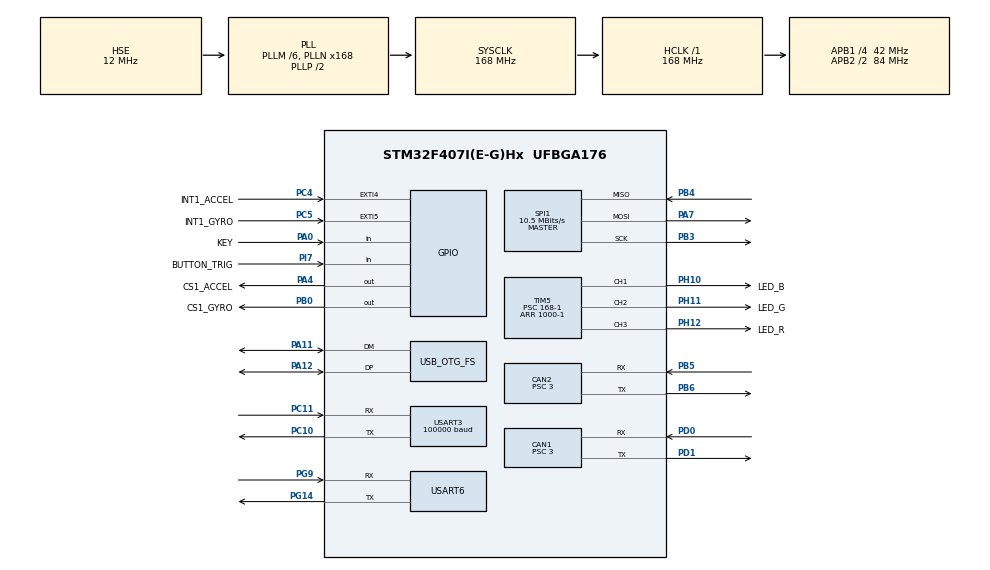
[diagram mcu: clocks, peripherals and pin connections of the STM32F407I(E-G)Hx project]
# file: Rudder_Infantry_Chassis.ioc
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CAN1.BS1=CAN_BS1_10TQ
CAN1.BS2=CAN_BS2_3TQ
CAN1.CalculateBaudRate=1000000
CAN1.CalculateTimeQuantum=71.42857142857143
CAN1.Prescaler=3
CAN2.BS1=CAN_BS1_10TQ
CAN2.BS2=CAN_BS2_3TQ
CAN2.CalculateBaudRate=1000000
CAN2.CalculateTimeQuantum=71.42857142857143
CAN2.Prescaler=3
Dma.Request0=USART3_RX
Dma.Request1=USART6_RX
Dma.Request2=USART6_TX
Dma.USART3_RX.0.Direction=DMA_PERIPH_TO_MEMORY
Dma.USART3_RX.0.FIFOMode=DMA_FIFOMODE_DISABLE
Dma.USART3_RX.0.Instance=DMA1_Stream1
Dma.USART3_RX.0.MemDataAlignment=DMA_MDATAALIGN_BYTE
Dma.USART3_RX.0.MemInc=DMA_MINC_ENABLE
Dma.USART3_RX.0.Mode=DMA_NORMAL
Dma.USART3_RX.0.PeriphDataAlignment=DMA_PDATAALIGN_BYTE
Dma.USART3_RX.0.PeriphInc=DMA_PINC_DISABLE
Dma.USART3_RX.0.Priority=DMA_PRIORITY_HIGH
Dma.USART6_RX.1.Direction=DMA_PERIPH_TO_MEMORY
Dma.USART6_RX.1.FIFOMode=DMA_FIFOMODE_DISABLE
Dma.USART6_RX.1.Instance=DMA2_Stream1
Dma.USART6_RX.1.MemDataAlignment=DMA_MDATAALIGN_BYTE
Dma.USART6_RX.1.MemInc=DMA_MINC_ENABLE
Dma.USART6_RX.1.Mode=DMA_NORMAL
Dma.USART6_RX.1.PeriphDataAlignment=DMA_PDATAALIGN_BYTE
Dma.USART6_RX.1.PeriphInc=DMA_PINC_DISABLE
Dma.USART6_RX.1.Priority=DMA_PRIORITY_HIGH
Dma.USART6_TX.2.Direction=DMA_MEMORY_TO_PERIPH
Dma.USART6_TX.2.FIFOMode=DMA_FIFOMODE_DISABLE
Dma.USART6_TX.2.Instance=DMA2_Stream6
Dma.USART6_TX.2.MemDataAlignment=DMA_MDATAALIGN_BYTE
Dma.USART6_TX.2.MemInc=DMA_MINC_ENABLE
Dma.USART6_TX.2.Mode=DMA_NORMAL
Dma.USART6_TX.2.PeriphDataAlignment=DMA_PDATAALIGN_BYTE
Dma.USART6_TX.2.PeriphInc=DMA_PINC_DISABLE
Dma.USART6_TX.2.Priority=DMA_PRIORITY_HIGH
FREERTOS.INCLUDE_eTaskGetState=1
FREERTOS.INCLUDE_pcTaskGetTaskName=1
FREERTOS.INCLUDE_uxTaskGetStackHighWaterMark=1
FREERTOS.INCLUDE_vTaskCleanUpResources=1
FREERTOS.INCLUDE_vTaskDelayUntil=1
FREERTOS.INCLUDE_xEventGroupSetBitFromISR=1
FREERTOS.INCLUDE_xQueueGetMutexHolder=1
FREERTOS.INCLUDE_xSemaphoreGetMutexHolder=1
FREERTOS.INCLUDE_xTaskAbortDelay=1
FREERTOS.INCLUDE_xTaskGetCurrentTaskHandle=1
FREERTOS.INCLUDE_xTaskGetHandle=1
FREERTOS.INCLUDE_xTimerPendFunctionCall=1
FREERTOS.Tasks01=DefaultTask,-2,128,StartDefaultTask,Default,NULL,Dynamic,NULL,NULL;ChassisTask,1,512,StartChassisTask,Default,NULL,Dynamic,NULL,NULL;INS_Task,2,128,StartINSTask,Default,NULL,Dynamic,NULL,NULL;DetectTask,-2,128,StartDeteactTask,Default,NULL,Dynamic,NULL,NULL;UI_Task,1,256,StartUITask,Default,NULL,Dynamic,NULL,NULL
FREERTOS.configENABLE_FPU=1
FREERTOS.configTOTAL_HEAP_SIZE=24576
FREERTOS.configUSE_NEWLIB_REENTRANT=1
Mcu.Family=STM32F4
Mcu.Name=STM32F407I(E-G)Hx
Mcu.Package=UFBGA176
NVIC.CAN1_RX0_IRQn=true\:6\:0\:true\:false\:true\:true\:true\:true\:true
NVIC.CAN2_RX0_IRQn=true\:6\:0\:true\:false\:true\:true\:true\:true\:true
NVIC.DMA1_Stream1_IRQn=true\:5\:0\:true\:false\:false\:true\:false\:false\:true
NVIC.DMA2_Stream1_IRQn=true\:5\:0\:true\:false\:true\:true\:false\:true\:true
NVIC.DMA2_Stream6_IRQn=true\:5\:0\:true\:false\:true\:true\:false\:true\:true
NVIC.EXTI4_IRQn=true\:5\:0\:true\:false\:true\:true\:true\:true\:true
NVIC.EXTI9_5_IRQn=true\:5\:0\:true\:false\:true\:true\:true\:true\:true
NVIC.OTG_FS_IRQn=true\:5\:0\:false\:false\:true\:true\:false\:true\:true
NVIC.PriorityGroup=NVIC_PRIORITYGROUP_4
NVIC.TIM8_TRG_COM_TIM14_IRQn=true\:15\:0\:false\:false\:true\:false\:false\:true\:true
NVIC.TimeBase=TIM8_TRG_COM_TIM14_IRQn
NVIC.TimeBaseIP=TIM14
NVIC.USART3_IRQn=true\:4\:0\:true\:false\:false\:false\:true\:true\:true
NVIC.USART6_IRQn=true\:5\:0\:true\:false\:true\:true\:true\:true\:true
PA0-WKUP.GPIO_Label=KEY
PA0-WKUP.GPIO_PuPd=GPIO_PULLUP
PA0-WKUP.Signal=GPIO_Input
PA11.Mode=Device_Only
PA11.Signal=USB_OTG_FS_DM
PA12.Mode=Device_Only
PA12.Signal=USB_OTG_FS_DP
PA13.Mode=Serial_Wire
PA13.Signal=SYS_JTMS-SWDIO
PA14.Mode=Serial_Wire
PA14.Signal=SYS_JTCK-SWCLK
PA4.GPIO_Label=CS1_ACCEL
PA4.GPIO_PuPd=GPIO_PULLUP
PA4.GPIO_Speed=GPIO_SPEED_FREQ_HIGH
PA4.PinState=GPIO_PIN_SET
PA4.Signal=GPIO_Output
PA7.GPIO_PuPd=GPIO_PULLUP
PA7.Mode=Full_Duplex_Master
PA7.Signal=SPI1_MOSI
PB0.GPIO_Label=CS1_GYRO
PB0.GPIO_PuPd=GPIO_PULLUP
PB0.GPIO_Speed=GPIO_SPEED_FREQ_HIGH
PB0.PinState=GPIO_PIN_SET
PB0.Signal=GPIO_Output
PB3.GPIO_PuPd=GPIO_PULLUP
PB3.Mode=Full_Duplex_Master
PB3.Signal=SPI1_SCK
PB4.GPIO_PuPd=GPIO_PULLUP
PB4.Mode=Full_Duplex_Master
PB4.Signal=SPI1_MISO
PB5.Mode=CAN_Activate
PB5.Signal=CAN2_RX
PB6.Mode=CAN_Activate
PB6.Signal=CAN2_TX
PB7.Signal=USART1_RX
PC10.Mode=Asynchronous
PC10.Signal=USART3_TX
PC11.Mode=Asynchronous
PC11.Signal=USART3_RX
PC4.GPIO_Label=INT1_ACCEL
PC4.GPIO_ModeDefaultEXTI=GPIO_MODE_IT_FALLING
PC4.GPIO_PuPd=GPIO_PULLUP
PC4.Signal=GPXTI4
PC5.GPIO_Label=INT1_GYRO
PC5.GPIO_ModeDefaultEXTI=GPIO_MODE_IT_FALLING
PC5.GPIO_PuPd=GPIO_PULLUP
PC5.Signal=GPXTI5
PD0.Mode=CAN_Activate
PD0.Signal=CAN1_RX
PD1.Mode=CAN_Activate
PD1.Signal=CAN1_TX
PG14.Mode=Asynchronous
PG14.Signal=USART6_TX
PG9.Mode=Asynchronous
PG9.Signal=USART6_RX
PH0-OSC_IN.Mode=HSE-External-Oscillator
PH0-OSC_IN.Signal=RCC_OSC_IN
PH1-OSC_OUT.Mode=HSE-External-Oscillator
PH1-OSC_OUT.Signal=RCC_OSC_OUT
PH10.GPIO_Label=LED_B
PH10.GPIO_PuPd=GPIO_PULLUP
PH10.GPIO_Speed=GPIO_SPEED_FREQ_HIGH
PH10.Signal=S_TIM5_CH1
PH11.GPIO_Label=LED_G
PH11.GPIO_PuPd=GPIO_PULLUP
PH11.GPIO_Speed=GPIO_SPEED_FREQ_HIGH
PH11.Signal=S_TIM5_CH2
PH12.GPIO_Label=LED_R
PH12.GPIO_PuPd=GPIO_PULLUP
PH12.GPIO_Speed=GPIO_SPEED_FREQ_HIGH
PH12.Signal=S_TIM5_CH3
PI7.GPIO_Label=BUTTON_TRIG
PI7.GPIO_PuPd=GPIO_PULLUP
PI7.Signal=GPIO_Input
ProjectManager.HeapSize=0x2000
ProjectManager.StackSize=0x2000
ProjectManager.TargetToolchain=CMake
RCC.48MHZClocksFreq_Value=48000000
RCC.AHBFreq_Value=168000000
RCC.APB1CLKDivider=RCC_HCLK_DIV4
RCC.APB1Freq_Value=42000000
RCC.APB1TimFreq_Value=84000000
RCC.APB2CLKDivider=RCC_HCLK_DIV2
RCC.APB2Freq_Value=84000000
RCC.APB2TimFreq_Value=168000000
RCC.CortexFreq_Value=168000000
RCC.HCLKFreq_Value=168000000
RCC.HSE_VALUE=12000000
RCC.HSI_VALUE=16000000
RCC.LSE_VALUE=32768
RCC.PLLM=6
RCC.PLLN=168
RCC.PLLQ=7
RCC.RCC_RTC_Clock_SourceVirtual=RCC_RTCCLKSOURCE_HSE_DIV30
RCC.RCC_RTC_Clock_Source_FROM_HSE=RCC_RTCCLKSOURCE_HSE_DIV30
RCC.SYSCLKFreq_VALUE=168000000
RCC.SYSCLKSource=RCC_SYSCLKSOURCE_PLLCLK
RCC.VCOOutputFreq_Value=336000000
RTC.AsynchPrediv=124
RTC.SynchPrediv=3199
SH.S_TIM5_CH1.0=TIM5_CH1,PWM Generation1 CH1
SH.S_TIM5_CH2.0=TIM5_CH2,PWM Generation2 CH2
SH.S_TIM5_CH3.0=TIM5_CH3,PWM Generation3 CH3
SPI1.BaudRatePrescaler=SPI_BAUDRATEPRESCALER_8
SPI1.CLKPhase=SPI_PHASE_2EDGE
SPI1.CLKPolarity=SPI_POLARITY_HIGH
SPI1.CalculateBaudRate=10.5 MBits/s
SPI1.Direction=SPI_DIRECTION_2LINES
SPI1.Mode=SPI_MODE_MASTER
SPI1.VirtualType=VM_MASTER
STMicroelectronics.X-CUBE-ALGOBUILD.1.4.0.LibraryCcDSPOoLibraryJjDSPOoLibrary=true
TIM5.AutoReloadPreload=TIM_AUTORELOAD_PRELOAD_ENABLE
TIM5.Channel-PWM\ Generation1\ CH1=TIM_CHANNEL_1
TIM5.Channel-PWM\ Generation2\ CH2=TIM_CHANNEL_2
TIM5.Channel-PWM\ Generation3\ CH3=TIM_CHANNEL_3
TIM5.Period=1000-1
TIM5.Prescaler=168-1
USART3.BaudRate=100000
USART3.Parity=PARITY_EVEN
USART3.VirtualMode=VM_ASYNC
USART3.WordLength=WORDLENGTH_8B
USART6.VirtualMode=VM_ASYNC
USB_DEVICE.CLASS_NAME_FS=CDC
USB_DEVICE.VirtualMode-CDC_FS=Cdc
USB_DEVICE.VirtualModeFS=Cdc_FS
USB_OTG_FS.VirtualMode=Device_Only
VP_FREERTOS_VS_CMSIS_V1.Mode=CMSIS_V1
VP_RNG_VS_RNG.Mode=RNG_Activate
VP_RTC_VS_RTC_Activate.Mode=RTC_Enabled
VP_STMicroelectronics.X-CUBE-ALGOBUILD_VS_DSPOoLibraryJjLibrary_1.4.0_1.4.0.Mode=DSPOoLibraryJjLibrary
VP_SYS_VS_tim14.Mode=TIM14
VP_TIM5_VS_ClockSourceINT.Mode=Internal
VP_USB_DEVICE_VS_USB_DEVICE_CDC_FS.Mode=CDC_FS
board=custom

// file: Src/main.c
/* USER CODE BEGIN Header */
/**
  ******************************************************************************
  * @file           : main.c
  * @brief          : Main program body
  ******************************************************************************
  * @attention
  *
  * <h2><center>&copy; Copyright (c) 2019 STMicroelectronics.
  * All rights reserved.</center></h2>
  *
  * This software component is licensed by ST under Ultimate Liberty license
  * SLA0044, the "License"; You may not use this file except in compliance with
  * the License. You may obtain a copy of the License at:
  *                             www.st.com/SLA0044
  *
  ******************************************************************************
  */
/* USER CODE END Header */
#include "main.h"
#include "cmsis_os.h"
#include "can.h"
#include "dma.h"
#include "rng.h"
#include "rtc.h"
#include "spi.h"
#include "tim.h"
#include "usart.h"
#include "usb_device.h"
#include "gpio.h"

/* USER CODE BEGIN Includes */
#include "bsp_dwt.h"
#include "bmi088_driver.h"
/* USER CODE END Includes */

void SystemClock_Config(void);
void MX_FREERTOS_Init(void);

int main(void)
{

  /* MCU Configuration--------------------------------------------------------*/

  /* Reset of all peripherals, Initializes the Flash interface and the Systick. */
  HAL_Init();

  /* Configure the system clock */
  SystemClock_Config();

  /* Initialize all configured peripherals */
  MX_GPIO_Init();
  MX_DMA_Init();
  MX_CAN1_Init();
  MX_CAN2_Init();
  MX_SPI1_Init();
  MX_TIM5_Init();
  MX_USART3_UART_Init();
  MX_RNG_Init();
  MX_RTC_Init();
  MX_USART6_UART_Init();
  /* USER CODE BEGIN 2 */
  DWT_Init(168);
  BMI088_Init(&hspi1,1);
  /* USER CODE END 2 */

  /* Call init function for freertos objects (in cmsis_os2.c) */
  MX_FREERTOS_Init();

  /* Start scheduler */
  osKernelStart();

  /* We should never get here as control is now taken by the scheduler */

  /* Infinite loop */
  while (1)
  {

  }
}

void SystemClock_Config(void)
{
  RCC_OscInitTypeDef RCC_OscInitStruct = {0};
  RCC_ClkInitTypeDef RCC_ClkInitStruct = {0};

  /** Configure the main internal regulator output voltage
  */
  __HAL_RCC_PWR_CLK_ENABLE();
  __HAL_PWR_VOLTAGESCALING_CONFIG(PWR_REGULATOR_VOLTAGE_SCALE1);

  /** Initializes the RCC Oscillators according to the specified parameters
  * in the RCC_OscInitTypeDef structure.
  */
  RCC_OscInitStruct.OscillatorType = RCC_OSCILLATORTYPE_HSE;
  RCC_OscInitStruct.HSEState = RCC_HSE_ON;
  RCC_OscInitStruct.PLL.PLLState = RCC_PLL_ON;
  RCC_OscInitStruct.PLL.PLLSource = RCC_PLLSOURCE_HSE;
  RCC_OscInitStruct.PLL.PLLM = 6;
  RCC_OscInitStruct.PLL.PLLN = 168;
  RCC_OscInitStruct.PLL.PLLP = RCC_PLLP_DIV2;
  RCC_OscInitStruct.PLL.PLLQ = 7;
  if (HAL_RCC_OscConfig(&RCC_OscInitStruct) != HAL_OK)
  {
    Error_Handler();
  }

  /** Initializes the CPU, AHB and APB buses clocks
  */
  RCC_ClkInitStruct.ClockType = RCC_CLOCKTYPE_HCLK|RCC_CLOCKTYPE_SYSCLK
                              |RCC_CLOCKTYPE_PCLK1|RCC_CLOCKTYPE_PCLK2;
  RCC_ClkInitStruct.SYSCLKSource = RCC_SYSCLKSOURCE_PLLCLK;
  RCC_ClkInitStruct.AHBCLKDivider = RCC_SYSCLK_DIV1;
  RCC_ClkInitStruct.APB1CLKDivider = RCC_HCLK_DIV4;
  RCC_ClkInitStruct.APB2CLKDivider = RCC_HCLK_DIV2;

  if (HAL_RCC_ClockConfig(&RCC_ClkInitStruct, FLASH_LATENCY_5) != HAL_OK)
  {
    Error_Handler();
  }
}

void HAL_TIM_PeriodElapsedCallback(TIM_HandleTypeDef *htim)
{
  if (htim->Instance == TIM14)
  {
    HAL_IncTick();
  }
}

void Error_Handler(void)
{
}

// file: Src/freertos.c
/* USER CODE BEGIN Header */
/**
  ******************************************************************************
  * File Name          : freertos.c
  * Description        : Code for freertos applications
  ******************************************************************************
  * @attention
  *
  * <h2><center>&copy; Copyright (c) 2019 STMicroelectronics.
  * All rights reserved.</center></h2>
  *
  * This software component is licensed by ST under Ultimate Liberty license
  * SLA0044, the "License"; You may not use this file except in compliance with
  * the License. You may obtain a copy of the License at:
  *                             www.st.com/SLA0044
  *
  ******************************************************************************
  */
/* USER CODE END Header */

#include "FreeRTOS.h"
#include "task.h"
#include "main.h"
#include "cmsis_os.h"

/* USER CODE BEGIN Includes */
#include "infantry.h"
#include "ins.h"
#include "detect.h"
#include "bsp_pwm.h"
/* USER CODE END Includes */

/* USER CODE BEGIN Variables */
osThreadId calibrate_tast_handle;
osThreadId chassisTaskHandle;
osThreadId gimbalTaskHandle;
osThreadId imuTaskHandle;
osThreadId led_RGB_flow_handle;
osThreadId referee_usart_task_handle;
osThreadId UI_task_handle;
osThreadId detect_task_handle;
/* USER CODE END Variables */
osThreadId DefaultTaskHandle;
osThreadId ChassisTaskHandle;
osThreadId INS_TaskHandle;
osThreadId DetectTaskHandle;
osThreadId UI_TaskHandle;

void StartDefaultTask(void const * argument);
void StartChassisTask(void const * argument);
void StartINSTask(void const * argument);
void StartDeteactTask(void const * argument);
void StartUITask(void const * argument);

extern void MX_USB_DEVICE_Init(void);
void MX_FREERTOS_Init(void); /* (MISRA C 2004 rule 8.1) */

/* GetIdleTaskMemory prototype (linked to static allocation support) */
void vApplicationGetIdleTaskMemory( StaticTask_t **ppxIdleTaskTCBBuffer, StackType_t **ppxIdleTaskStackBuffer, uint32_t *pulIdleTaskStackSize );

/* GetTimerTaskMemory prototype (linked to static allocation support) */
void vApplicationGetTimerTaskMemory( StaticTask_t **ppxTimerTaskTCBBuffer, StackType_t **ppxTimerTaskStackBuffer, uint32_t *pulTimerTaskStackSize );

/* USER CODE BEGIN GET_IDLE_TASK_MEMORY */
static StaticTask_t xIdleTaskTCBBuffer;
static StackType_t xIdleStack[configMINIMAL_STACK_SIZE];

void vApplicationGetIdleTaskMemory(StaticTask_t** ppxIdleTaskTCBBuffer, StackType_t** ppxIdleTaskStackBuffer, uint32_t* pulIdleTaskStackSize) {
  *ppxIdleTaskTCBBuffer = &xIdleTaskTCBBuffer;
  *ppxIdleTaskStackBuffer = &xIdleStack[0];
  *pulIdleTaskStackSize = configMINIMAL_STACK_SIZE;
  /* place for user code */
}
/* USER CODE END GET_IDLE_TASK_MEMORY */

/* USER CODE BEGIN GET_TIMER_TASK_MEMORY */
static StaticTask_t xTimerTaskTCBBuffer;
static StackType_t xTimerStack[configTIMER_TASK_STACK_DEPTH];

void vApplicationGetTimerTaskMemory(StaticTask_t** ppxTimerTaskTCBBuffer, StackType_t** ppxTimerTaskStackBuffer, uint32_t* pulTimerTaskStackSize) {
  *ppxTimerTaskTCBBuffer = &xTimerTaskTCBBuffer;
  *ppxTimerTaskStackBuffer = &xTimerStack[0];
  *pulTimerTaskStackSize = configTIMER_TASK_STACK_DEPTH;
  /* place for user code */
}
/* USER CODE END GET_TIMER_TASK_MEMORY */

void MX_FREERTOS_Init(void) {

  /* Create the thread(s) */
  /* definition and creation of DefaultTask */
  osThreadDef(DefaultTask, StartDefaultTask, osPriorityLow, 0, 128);
  DefaultTaskHandle = osThreadCreate(osThread(DefaultTask), NULL);

  /* definition and creation of ChassisTask */
  osThreadDef(ChassisTask, StartChassisTask, osPriorityAboveNormal, 0, 512);
  ChassisTaskHandle = osThreadCreate(osThread(ChassisTask), NULL);

  /* definition and creation of INS_Task */
  osThreadDef(INS_Task, StartINSTask, osPriorityHigh, 0, 128);
  INS_TaskHandle = osThreadCreate(osThread(INS_Task), NULL);

  /* definition and creation of DetectTask */
  osThreadDef(DetectTask, StartDeteactTask, osPriorityLow, 0, 128);
  DetectTaskHandle = osThreadCreate(osThread(DetectTask), NULL);

  /* definition and creation of UI_Task */
  osThreadDef(UI_Task, StartUITask, osPriorityAboveNormal, 0, 256);
  UI_TaskHandle = osThreadCreate(osThread(UI_Task), NULL);

}

void StartDefaultTask(void const * argument)
{
  /* init code for USB_DEVICE */
  MX_USB_DEVICE_Init();
  /* USER CODE BEGIN StartDefaultTask */
  HAL_TIM_PWM_Start(&htim5, TIM_CHANNEL_1);
  HAL_TIM_PWM_Start(&htim5, TIM_CHANNEL_2);
  HAL_TIM_PWM_Start(&htim5, TIM_CHANNEL_3);

  uint8_t red = 0, green = 0, blue = 0;
  uint8_t brightness = 0, color = 0;
  int8_t direction = 1;
  /* Infinite loop */
  for (;;) {
    red = 0;      green = 0;      blue = 0;
    switch (color) {
    case 0:        red = brightness;
      break;
    case 1:        green = brightness;
      break;
    default:        blue = brightness;
      break;
    }
    TIM_Set_PWM(&htim5, TIM_CHANNEL_1, red);
    TIM_Set_PWM(&htim5, TIM_CHANNEL_2, green);
    TIM_Set_PWM(&htim5, TIM_CHANNEL_3, blue);

    if (direction > 0) {
      if (brightness < 255)           brightness++;
      else           direction = -1;
    }
    else
      if (brightness > 0)           brightness--;
      else {
        direction = 1;
        color = (color + 1) % 3;
      }
    osDelay(5);
  }
  /* USER CODE END StartDefaultTask */
}

void StartChassisTask(void const * argument)
{
  /* USER CODE BEGIN StartChassisTask */
  Chassis_Init();
  /* Infinite loop */
  for (;;) {
    Chassis_Task();
    osDelay(3);
  }
  /* USER CODE END StartChassisTask */
}

void StartINSTask(void const * argument)
{
  /* USER CODE BEGIN StartINSTask */
  INS_Init();
  /* Infinite loop */
  for (;;) {
    INS_Task();
    osDelay(2);
  }
  /* USER CODE END StartINSTask */
}

void StartDeteactTask(void const * argument)
{
  /* USER CODE BEGIN StartDeteactTask */
  Detect_Init();
  /* Infinite loop */
  for (;;) {
    Detect_Task();
    osDelay(100);
  }
  /* USER CODE END StartDeteactTask */
}

void StartUITask(void const * argument)
{
  for (;;) {
    osDelay(1);
  }
}
